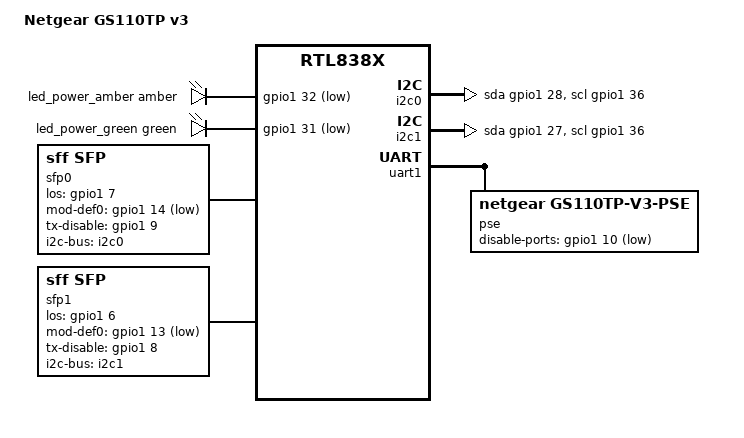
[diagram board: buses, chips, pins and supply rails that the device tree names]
// SPDX-License-Identifier: GPL-2.0-or-later

#include "rtl8380_netgear_gigabit.dtsi"

#include <dt-bindings/leds/common.h>

/ {
	compatible = "netgear,gs110tp-v3", "realtek,rtl838x-soc";
	model = "Netgear GS110TP v3";

	aliases {
		led-boot = &led_power_green;
		led-failsafe = &led_power_amber;
		led-running = &led_power_green;
		led-upgrade = &led_power_amber;
	};

	leds {
		compatible = "gpio-leds";

		led_power_amber: led-0 {
			color = <LED_COLOR_ID_AMBER>;
			function = LED_FUNCTION_POWER;
			gpios = <&gpio1 32 GPIO_ACTIVE_LOW>;
		};

		led_power_green: led-1 {
			color = <LED_COLOR_ID_GREEN>;
			function = LED_FUNCTION_POWER;
			gpios = <&gpio1 31 GPIO_ACTIVE_LOW>;
		};
	};

	/* i2c of the left SFP cage: port 9 */
	i2c0: i2c-gpio-0 {
		compatible = "i2c-gpio";
		sda-gpios = <&gpio1 28 (GPIO_ACTIVE_HIGH | GPIO_OPEN_DRAIN)>;
		scl-gpios = <&gpio1 36 (GPIO_ACTIVE_HIGH | GPIO_OPEN_DRAIN)>;
		i2c-gpio,delay-us = <2>;
		#address-cells = <1>;
		#size-cells = <0>;
	};

	sfp0: sfp-p9 {
		compatible = "sff,sfp";
		i2c-bus = <&i2c0>;
		los-gpios = <&gpio1 7 GPIO_ACTIVE_HIGH>;
		mod-def0-gpios = <&gpio1 14 GPIO_ACTIVE_LOW>;
		tx-disable-gpios = <&gpio1 9 GPIO_ACTIVE_HIGH>;
	};

	/* i2c of the right SFP cage: port 10 */
	i2c1: i2c-gpio-1 {
		compatible = "i2c-gpio";
		sda-gpios = <&gpio1 27 (GPIO_ACTIVE_HIGH | GPIO_OPEN_DRAIN)>;
		scl-gpios = <&gpio1 36 (GPIO_ACTIVE_HIGH | GPIO_OPEN_DRAIN)>;
		i2c-gpio,delay-us = <2>;
		#address-cells = <1>;
		#size-cells = <0>;
	};

	sfp1: sfp-p10 {
		compatible = "sff,sfp";
		i2c-bus = <&i2c1>;
		los-gpios = <&gpio1 6 GPIO_ACTIVE_HIGH>;
		mod-def0-gpios = <&gpio1 13 GPIO_ACTIVE_LOW>;
		tx-disable-gpios = <&gpio1 8 GPIO_ACTIVE_HIGH>;
	};
};

&firmware {
	openwrt,ih-magic = <0x4e474520>;
};

&uart1 {
	status = "okay";

	pse: ethernet-pse {
		compatible = "netgear,gs110tp-v3-pse", "realtek,pse-mcu-gen1";
		current-speed = <19200>;
		disable-ports-gpios = <&gpio1 10 GPIO_ACTIVE_LOW>;

		pse-pis {
			#address-cells = <1>;
			#size-cells = <0>;

			PSE_PI(0)
			PSE_PI(1)
			PSE_PI(2)
			PSE_PI(3)
			PSE_PI(4)
			PSE_PI(5)
			PSE_PI(6)
			PSE_PI(7)
		};
	};
};

/* Copper ports lan1..lan8 (phy8..phy15) -> MCU PoE ports 0..7 */
&phy8  { pses = <&pse_pi0>; };
&phy9  { pses = <&pse_pi1>; };
&phy10 { pses = <&pse_pi2>; };
&phy11 { pses = <&pse_pi3>; };
&phy12 { pses = <&pse_pi4>; };
&phy13 { pses = <&pse_pi5>; };
&phy14 { pses = <&pse_pi6>; };
&phy15 { pses = <&pse_pi7>; };

&switch0 {
	ethernet-ports {
		port24: port@24 {
			reg = <24>;
			label = SWITCH_PORT_LABEL(9);
			pcs-handle = <&serdes4 0>;
			phy-mode = "1000base-x";
			managed = "in-band-status";
			sfp = <&sfp0>;
		};
		port26: port@26 {
			reg = <26>;
			label = SWITCH_PORT_LABEL(10);
			pcs-handle = <&serdes5 0>;
			phy-mode = "1000base-x";
			managed = "in-band-status";
			sfp = <&sfp1>;
		};
	};
};
